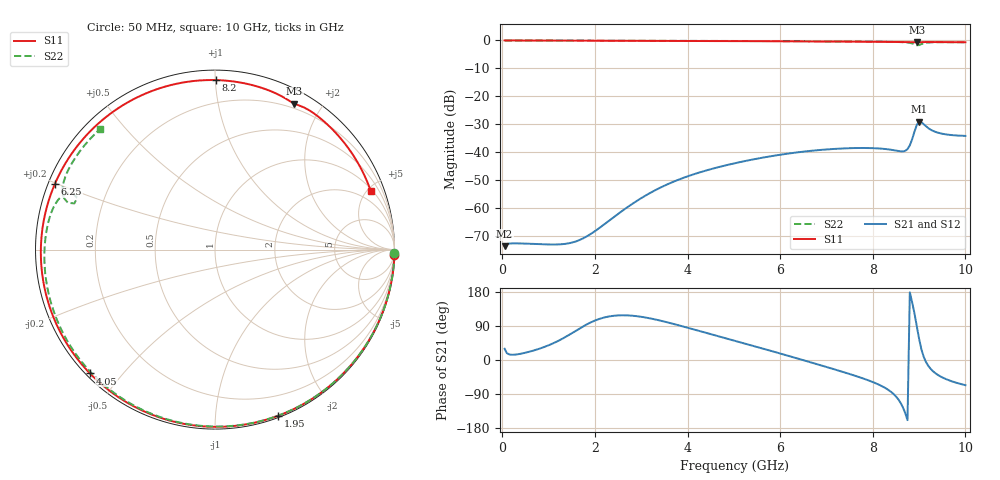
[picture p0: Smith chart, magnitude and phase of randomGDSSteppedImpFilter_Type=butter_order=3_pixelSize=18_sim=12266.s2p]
! freq	dB(S11)	phase(S11)	dB(S12)	phase(S12)
!  dB(S21)	phase(S21)	dB(S22)	phase(S22)
!S-par simulation data
#  GHz  S  DB  R 50
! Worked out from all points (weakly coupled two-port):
!   200 points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, 50 MHz to 10 GHz, reference 50 ohm
!   highest |S21| = -29.13 dB at 9 GHz (marker M1); lowest = -73.7 dB at 50 MHz (marker M2)
!   lowest |S11| = -0.7 dB at 8.95 GHz (marker M3), VSWR 25.79, Z = 7.39 + j83.6 ohm
!   |S11| at or under -10 dB: nowhere
!   |S22| runs from -1.7 to 0.0 dB; largest |S21 - S12| = 0
!   S11 on the Smith chart (normalised r, x): 50 MHz: 0, -62; 1.95 GHz: 0.02, -1.45; 4.05 GHz: 0.01, -0.41; 6.25 GHz: 0.02, +0.20; 8.2 GHz: 0.06, +1.00; 10 GHz: 1.14, +5.29
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0.05  -0.00 -1.8  -73.75 29.6  -73.75 29.6  -0.00 -1.2
0.2  -0.00 -7.4  -72.76 13.8  -72.76 13.8  -0.00 -4.9
0.85  -0.04 -30.9  -73.06 31.9  -73.06 31.9  -0.02 -20.7
1.4  -0.06 -50.3  -72.83 63.2  -72.83 63.2  -0.04 -33.8
1.75  -0.08 -62.4  -70.91 88.9  -70.91 88.9  -0.05 -42.1
1.95  -0.09 -69.1  -68.94 101.5  -68.94 101.5  -0.06 -46.7
2.65  -0.11 -92.1  -60.38 118.0  -60.38 118.0  -0.08 -62.8
3.4  -0.14 -115.6  -52.87 104.3  -52.87 104.3  -0.11 -79.5
4.05  -0.17 -135.3  -48.43 83.5  -48.43 83.5  -0.13 -93.5
5.05  -0.23 -165.3  -43.91 49.8  -43.91 49.8  -0.18 -114.6
5.65  -0.27 176.5  -41.93 29.3  -41.93 29.3  -0.21 -127.1
6.25  -0.32 157.7  -40.38 8.4  -40.38 8.4  -0.25 -139.6
6.7  -0.35 143.0  -39.51 -7.6  -39.51 -7.6  -0.29 -149.1
7.5  -0.43 115.4  -38.62 -36.9  -38.62 -36.9  -0.37 -166.4
8.2  -0.50 89.7  -38.80 -69.2  -38.80 -69.2  -0.46 177.4
8.35  -0.51 84.0  -39.08 -80.1  -39.08 -80.1  -0.49 173.7
8.75  -0.59 68.6  -38.94 -158.8  -38.94 -158.8  -0.75 162.4
8.85  -0.64 64.8  -35.42 152.4  -35.42 152.4  -1.07 159.2
8.95  -0.67 61.5  -30.27 90.1  -30.27 90.1  -1.72 159.4
9  -0.64 59.9  -29.13 56.2  -29.13 56.2  -1.67 161.8
9.25  -0.56 49.7  -31.99 -23.4  -31.99 -23.4  -0.69 155.9
10  -0.66 20.5  -34.21 -66.5  -34.21 -66.5  -0.65 133.8
